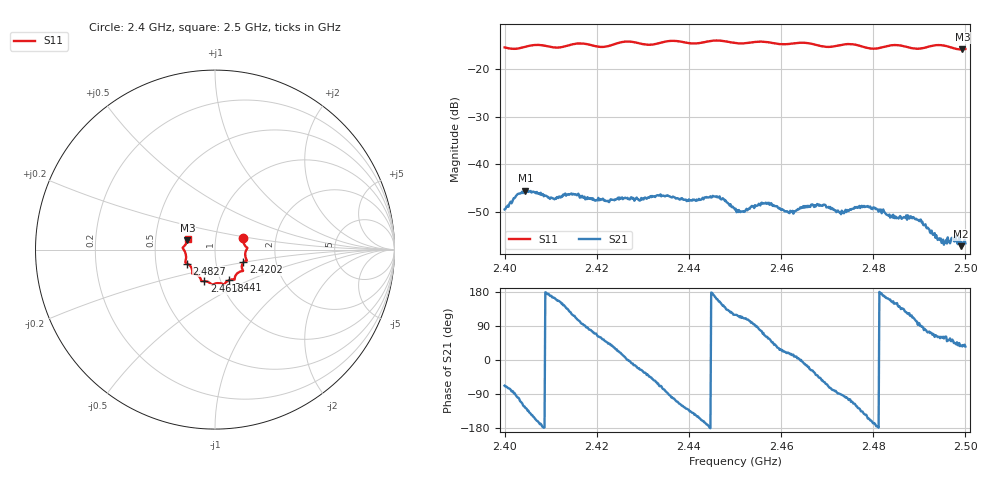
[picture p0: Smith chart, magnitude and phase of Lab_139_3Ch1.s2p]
# Hz S RI R 50
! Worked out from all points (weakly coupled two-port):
!   601 points, 2.4 GHz to 2.5 GHz, reference 50 ohm
!   highest |S21| = -45.53 dB at 2.4045 GHz (marker M1); lowest = -57.2 dB at 2.499 GHz (marker M2)
!   lowest |S11| = -15.8 dB at 2.4993 GHz (marker M3), VSWR 1.39, Z = 36.5 + j3.85 ohm
!   |S11| at or under -10 dB: start of sweep to end of sweep
!   S12 and S22 are empty: the file has one direction only
!   S11 on the Smith chart (normalised r, x): 2.4 GHz: 1.36, +0.18; 2.4202 GHz: 1.36, -0.20; 2.441 GHz: 1.10, -0.39; 2.4618 GHz: 0.84, -0.30; 2.4827 GHz: 0.72, -0.12; 2.5 GHz: 0.73, +0.09
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2.4e9  0.1582 0.0626  0.00127 -0.0031  0 0  0 0
2.4045e9  0.1718 0.0163  -0.00314 -0.00426  0 0  0 0
2.410333e9  0.171 -0.00932  -0.00426 0.00112  0 0  0 0
2.416667e9  0.1774 -0.0607  -0.000464 0.00448  0 0  0 0
2.420167e9  0.1583 -0.0712  0.00188 0.00374  0 0  0 0
2.433333e9  0.1116 -0.1508  0.00221 -0.00417  0 0  0 0
2.441e9  0.0784 -0.1698  -0.00323 -0.00269  0 0  0 0
2.446167e9  0.0499 -0.1952  -0.00433 0.00154  0 0  0 0
2.45e9  0.0282 -0.1873  -0.00165 0.0029  0 0  0 0
2.451667e9  0.0111 -0.1871  -0.00116 0.00297  0 0  0 0
2.456833e9  -0.0187 -0.193  0.00187 0.00336  0 0  0 0
2.461833e9  -0.0592 -0.1757  0.00292 0.000921  0 0  0 0
2.466667e9  -0.0786 -0.1683  0.00333 -0.00171  0 0  0 0
2.473167e9  -0.1213 -0.1348  -9.49e-05 -0.00325  0 0  0 0
2.478833e9  -0.1291 -0.1068  -0.00329 -0.00156  0 0  0 0
2.482667e9  -0.1562 -0.0774  -0.00296 0.000715  0 0  0 0
2.483333e9  -0.1603 -0.0754  -0.00272 0.000951  0 0  0 0
2.4885e9  -0.161 -0.0434  -0.00102 0.00251  0 0  0 0
2.495e9  -0.1787 0.0122  0.00078 0.00129  0 0  0 0
2.499e9  -0.1553 0.0464  0.00108 0.000846  0 0  0 0
2.499333e9  -0.1536 0.0513  0.00115 0.000827  0 0  0 0
2.5e9  -0.152 0.0607  0.0012 0.000856  0 0  0 0
